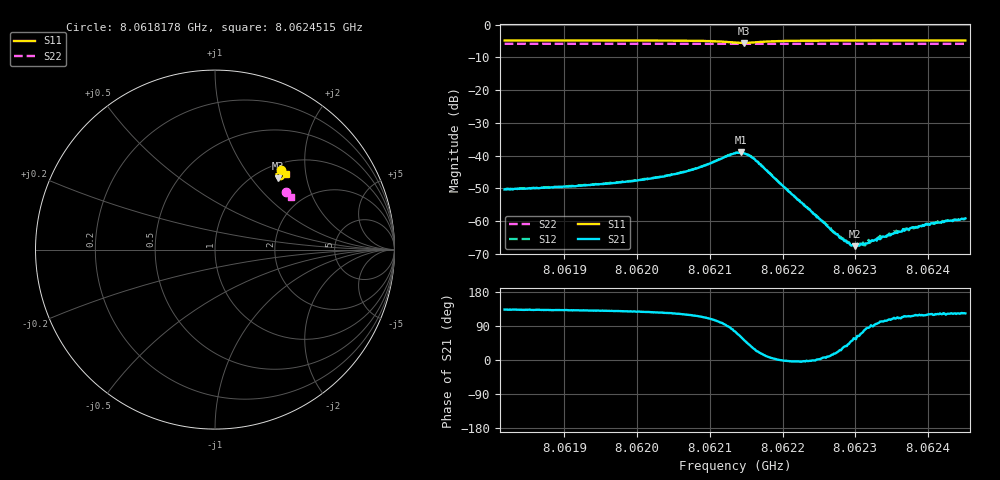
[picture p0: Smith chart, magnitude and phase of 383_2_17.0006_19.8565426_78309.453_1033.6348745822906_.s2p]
#  HZ  S  RI  R  50.00
! Rohde & Schwarz Vector Network Analyzer
! Rohde-Schwarz,ZNB20-2Port,1311601062101988,3.16
! Created: UTC 3/20/2024, 11:09:13 PM
! freq[Hz]  re:S11  im:S11  re:S21  im:S21  re:S12  im:S12  re:S22  im:S22
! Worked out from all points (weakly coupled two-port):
!   401 points, 8.0618178 GHz to 8.0624515 GHz, reference 50 ohm
!   highest |S21| = -39.05 dB at 8.0621426 GHz (marker M1); lowest = -67.7 dB at 8.0622994 GHz (marker M2)
!   lowest |S11| = -5.5 dB at 8.0621473 GHz (marker M3), VSWR 3.25, Z = 61.8 + j68.3 ohm
!   |S11| at or under -10 dB: nowhere
!   |S22| runs from -5.9 to -5.8 dB; largest |S21 - S12| = 0.00081
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8.06181778e9  0.3653 0.4453  -0.00207 0.00221  -0.00198 0.00238  0.3983 0.3226
8.06192393e9  0.3727 0.4388  -0.00225 0.00263  -0.00212 0.00279  0.4023 0.3172
8.06197305e9  0.3763 0.4351  -0.00244 0.00297  -0.00225 0.00318  0.4041 0.315
8.06203009e9  0.3812 0.4292  -0.00269 0.00378  -0.0025 0.004  0.4062 0.3118
8.06208079e9  0.3855 0.4186  -0.00283 0.00564  -0.00253 0.00588  0.408 0.3088
8.06213466e9  0.3658 0.3918  0.00274 0.0105  0.00338 0.0104  0.4088 0.3055
8.06214259e9  0.3546 0.3938  0.00537 0.00978  0.00588 0.00942  0.4085 0.3054
8.06214734e9  0.3486 0.3977  0.00658 0.00852  0.00708 0.00823  0.4085 0.3053
8.06216318e9  0.3424 0.4183  0.00754 0.00356  0.0079 0.0032  0.4088 0.3057
8.06224082e9  0.3725 0.4345  0.00136 -3.14e-05  0.00136 -0.00012  0.413 0.3021
8.06225983e9  0.3758 0.4333  0.000866 8.8e-05  0.000874 3.14e-05  0.4138 0.3011
8.06227251e9  0.3777 0.4325  0.000615 0.000188  0.000641 0.000128  0.4143 0.3005
8.06228201e9  0.3789 0.4319  0.000462 0.000268  0.000494 0.000184  0.4148 0.3
8.06229311e9  0.3802 0.431  0.000294 0.000318  0.00029 0.000326  0.4152 0.2994
8.06229944e9  0.3809 0.4307  0.000225 0.000343  0.000267 0.000318  0.4155 0.2991
8.06231212e9  0.3822 0.4298  9.49e-05 0.000428  0.000136 0.0004  0.4158 0.2984
8.06233113e9  0.384 0.4286  -6.48e-05 0.000544  -3.33e-05 0.00055  0.4165 0.2975
8.06234698e9  0.3855 0.4277  -0.000179 0.000573  -0.000156 0.000622  0.4171 0.2966
8.06236757e9  0.3871 0.4264  -0.000306 0.000635  -0.000266 0.000698  0.4179 0.2955
8.06237708e9  0.3877 0.4258  -0.000338 0.000706  -0.000313 0.000695  0.4182 0.2949
8.06240243e9  0.3896 0.4242  -0.000442 0.000749  -0.000405 0.000787  0.419 0.2936
8.06245155e9  0.3929 0.4216  -0.000595 0.000915  -0.000546 0.000912  0.4208 0.2909
